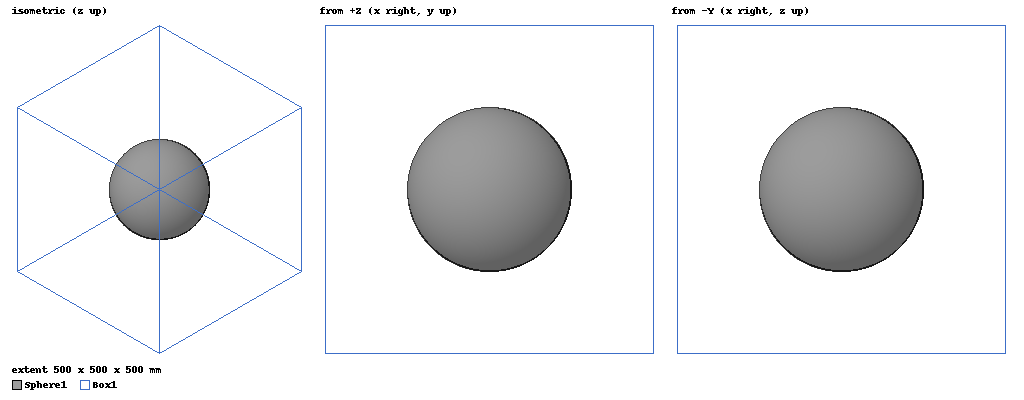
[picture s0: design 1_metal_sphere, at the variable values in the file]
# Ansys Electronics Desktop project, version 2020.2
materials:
  vacuum: permittivity=1
  aluminum: permeability=1.000021 conductivity=38000000

design 1_metal_sphere (HFSS, DrivenModal, model units mm)
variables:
  box_X = 1000mm
  box_Y = 1000mm
  box_Z = 1000mm
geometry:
  Sphere1 [aluminum] = sphere(centre=(0mm, 0mm, 0mm), radius=250mm)
  Box1 [vacuum] = box(corner=(-box_X/2, -box_Y/2, -box_Z/2), size=(box_X, box_Y, box_Z))
